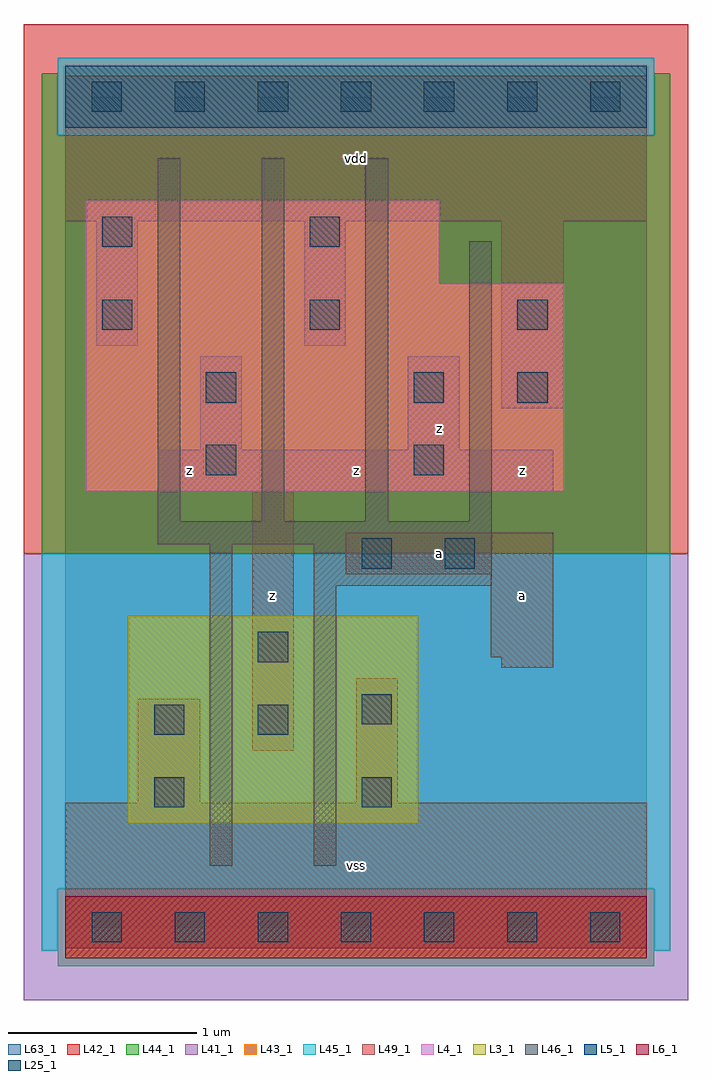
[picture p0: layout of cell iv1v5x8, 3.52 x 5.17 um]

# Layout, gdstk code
import gdstk
lib = gdstk.Library(unit=1e-6, precision=1e-09)
def R(c, l, rs):  # rectangles x0, y0, x1, y1
    for r in rs: c.add(gdstk.rectangle(r[:2], r[2:], *l))
def A(c, l, x, y, w, h, nx, ny, dx, dy):  # array of equal rectangles
    R(c, l, [(x+i*dx, y+j*dy, x+i*dx+w, y+j*dy+h) for i in range(nx) for j in range(ny)])
L3_1 = (3, 1)
L4_1 = (4, 1)
L5_1 = (5, 1)
L6_1 = (6, 1)
L25_1 = (25, 1)
L41_1 = (41, 1)
L42_1 = (42, 1)
L43_1 = (43, 1)
L44_1 = (44, 1)
L45_1 = (45, 1)
L46_1 = (46, 1)
L49_1 = (49, 1)
L63_1 = (63, 1)

iv1v5x8 = lib.new_cell('iv1v5x8')
R(iv1v5x8, L3_1, [(0.33,0.55,1.87,1.65)])
R(iv1v5x8, L4_1, [(0.11,2.31,2.64,3.41), (0.11,3.41,1.98,3.85)])
R(iv1v5x8, L5_1, [(0,4.235,3.08,4.565)])
R(iv1v5x8, L6_1, [(0,-0.165,3.08,0.165)])
A(iv1v5x8, L25_1, 0.14, -0.08, 0.16, 0.16, 7, 2, 0.44, 4.4)
A(iv1v5x8, L25_1, 0.195, 3.165, 0.16, 0.16, 3, 1, 1.1, 0)
R(iv1v5x8, L25_1, [(0.47,0.635,0.63,0.795), (1.57,0.635,1.73,0.795), (0.47,1.02,0.63,1.18), (1.02,1.02,1.18,1.18), (1.57,1.075,1.73,1.235), (1.02,1.405,1.18,1.565), (1.57,1.9,1.73,2.06), (2.01,1.9,2.17,2.06), (0.745,2.395,0.905,2.555), (1.845,2.395,2.005,2.555), (0.745,2.78,0.905,2.94), (1.845,2.78,2.005,2.94), (2.395,2.78,2.555,2.94), (0.195,3.605,0.355,3.765), (1.295,3.605,1.455,3.765)])
R(iv1v5x8, L41_1, [(-0.22,-0.385,3.3,1.98)])
R(iv1v5x8, L42_1, [(-0.22,1.98,3.3,4.785)])
R(iv1v5x8, L43_1, [(0,-0.165,3.08,0.165), (0.33,0.55,1.87,1.65), (0.11,2.31,2.64,3.41), (0.11,3.41,1.98,3.85), (0,4.235,3.08,4.565)])
R(iv1v5x8, L44_1, [(-0.04,-0.205,3.12,0.205), (-0.125,1.98,3.205,4.195), (-0.125,4.195,-0.04,4.525), (3.12,4.195,3.205,4.525)])
R(iv1v5x8, L45_1, [(-0.125,-0.125,-0.04,0.205), (3.12,-0.125,3.205,0.205), (-0.125,0.205,3.205,1.98), (-0.04,4.195,3.12,4.605)])
A(iv1v5x8, L46_1, 0.49, 2.15, 0.12, 1.925, 3, 1, 0.55, 0)
R(iv1v5x8, L46_1, [(0.765,0.325,0.885,2.03), (1.315,0.325,1.435,1.81), (1.315,1.81,2.26,2.03), (0.49,2.03,2.26,2.15), (2.14,2.15,2.26,3.635)])
R(iv1v5x8, L49_1, [(0,-0.11,3.08,0.66), (0.385,0.66,0.715,1.21), (1.54,0.66,1.76,1.32), (0.99,0.935,1.21,2.31), (2.31,1.375,2.585,1.43), (2.255,1.43,2.585,1.87), (1.485,1.87,2.585,2.09), (0.495,2.31,2.585,2.53), (0.715,2.53,0.935,3.025), (1.815,2.53,2.09,3.025), (2.31,2.75,2.64,3.74), (0.165,3.08,0.385,3.74), (1.265,3.08,1.485,3.74), (0,3.74,3.08,4.51)])
R(iv1v5x8, L63_1, [(0,0,3.08,4.4)])
iv1v5x8.add(gdstk.Label('z', (1.1,1.76), layer=49, texttype=1))
iv1v5x8.add(gdstk.Label('z', (0.66,2.42), layer=49, texttype=1))
iv1v5x8.add(gdstk.Label('vss', (1.54,0.33), layer=49, texttype=1))
iv1v5x8.add(gdstk.Label('a', (1.98,1.98), layer=49, texttype=1))
iv1v5x8.add(gdstk.Label('z', (1.54,2.42), layer=49, texttype=1))
iv1v5x8.add(gdstk.Label('z', (1.98,2.64), layer=49, texttype=1))
iv1v5x8.add(gdstk.Label('vdd', (1.54,4.07), layer=49, texttype=1))
iv1v5x8.add(gdstk.Label('a', (2.42,1.76), layer=49, texttype=1))
iv1v5x8.add(gdstk.Label('z', (2.42,2.42), layer=49, texttype=1))

lib.write_gds('iv1v5x8.gds')
